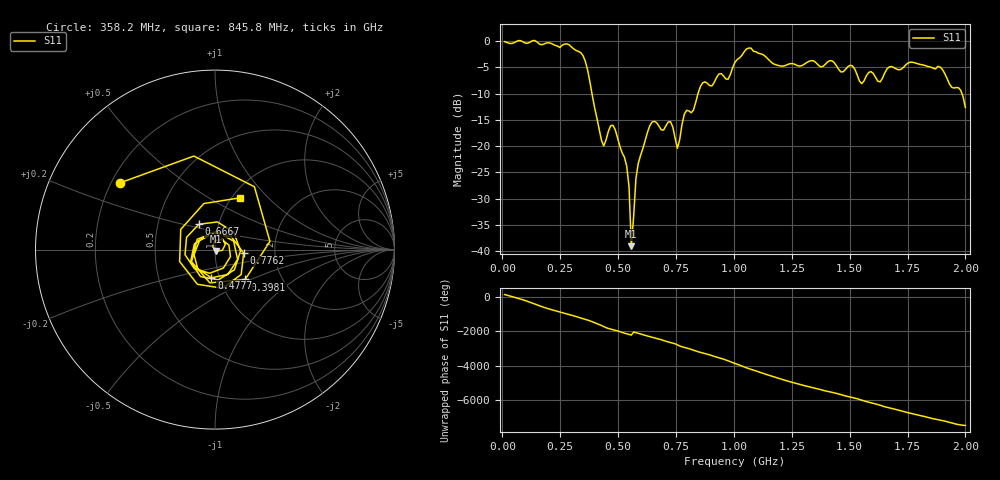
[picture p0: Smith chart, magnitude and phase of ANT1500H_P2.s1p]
!Created with skrf (http://scikit-rf.org).
# Hz S RI R 50.0
!freq ReS11 ImS11
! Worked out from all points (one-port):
!   201 points, 10 MHz to 2 GHz, reference 50 ohm
!   lowest |S11| = -39.1 dB at 557.2 MHz (marker M1), VSWR 1.02, Z = 50.8 - j0.83 ohm
!   |S11| at or under -10 dB: 387.4 MHz to 845.1 MHz (457.8 MHz wide, 74.3 % of centre); 1.985 GHz to end of sweep
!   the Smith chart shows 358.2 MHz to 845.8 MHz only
!   S11 on the Smith chart (normalised r, x): 358.2 MHz: 0.23, +0.30; 398.1 MHz: 1.31, -0.46; 477.6 MHz: 0.92, -0.29; 666.7 MHz: 0.81, +0.23; 776.1 MHz: 1.38, -0.06; 845.8 MHz: 1.09, +0.70
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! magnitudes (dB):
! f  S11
! 10 MHz  -0.1
! 258.8 MHz  -0.7
! 358.2 MHz  -3.8
! 398.1 MHz  -12.5
! 437.9 MHz  -20.0
! 477.6 MHz  -16.0
! 507.5 MHz  -20.0
! 537.4 MHz  -23.8
! 547.3 MHz  -27.7
! 557.2 MHz  -39.1
! 577.1 MHz  -26.2
! 587.1 MHz  -23.3
! 636.9 MHz  -16.1
! 666.7 MHz  -15.5
! 726.4 MHz  -15.3
! 756.2 MHz  -20.4
! 776.1 MHz  -15.9
! 845.8 MHz  -9.9
! 975.1 MHz  -7.2
! 1.005 GHz  -4.0
! 1.065 GHz  -1.3
! 1.254 GHz  -4.3
! 1.502 GHz  -4.6
! 1.552 GHz  -8.1
! 1.751 GHz  -4.2
! 1.891 GHz  -4.9
! 1.98 GHz  -9.4
! 2 GHz  -12.6
